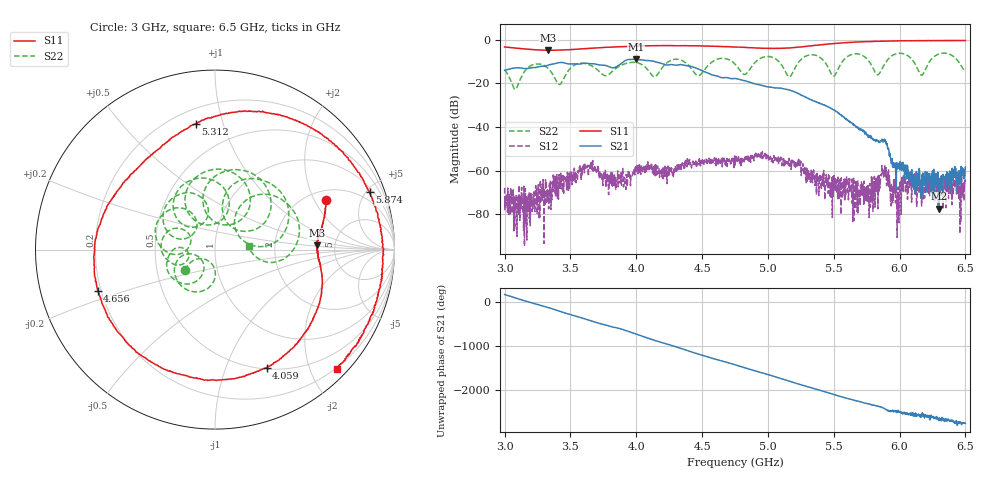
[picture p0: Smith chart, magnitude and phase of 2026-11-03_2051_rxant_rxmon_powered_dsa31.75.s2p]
! HEWLETT PACKARD,8720ES,MY41003347,7.72, via bringup/vna_tests.py
! rxant_rxmon_powered_dsa31.75
! measured 2026-11-03 20:52:11, 1601 points, 3000000000-6500000000 Hz, IF bandwidth 1000 Hz, source -40.00 dBm, kit CALK35MD
! board A, DSA 31.75 dB (set before each sweep)
# HZ S RI R 50
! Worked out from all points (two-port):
!   1601 points, 3 GHz to 6.5 GHz, reference 50 ohm
!   highest |S21| = -9.01 dB at 3.998 GHz (marker M1); lowest = -77.4 dB at 6.299 GHz (marker M2)
!   |S21| within 3 dB of the highest: 3.318 GHz to 3.775 GHz (457.3 MHz wide, 12.9 % of centre); 3.862 GHz to 4.388 GHz (526.2 MHz wide, 12.8 % of centre)
!   lowest |S11| = -4.9 dB at 3.333 GHz (marker M3), VSWR 3.62, Z = 180 + j12.5 ohm
!   |S11| at or under -10 dB: nowhere
!   |S22| runs from -22.8 to -6.2 dB; largest |S21 - S12| = 0.35
!   S11 on the Smith chart (normalised r, x): 3 GHz: 2.46, +2.48; 4.059 GHz: 0.52, -1.40; 4.656 GHz: 0.19, -0.16; 5.312 GHz: 0.29, +0.81; 5.874 GHz: 1.29, +5.26; 6.5 GHz: 0.18, -2.45
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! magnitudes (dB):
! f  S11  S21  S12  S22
! 3 GHz  -3.4  -14.1  -67.9  -13.9
! 3.081 GHz  -3.9  -13.0  -77.2  -22.8
! 3.333 GHz  -4.9  -11.7  -69.5  -13.3
! 3.418 GHz  -4.8  -10.5  -68.0  -20.6
! 3.584 GHz  -4.3  -11.1  -59.1  -10.8
! 3.998 GHz  -3.0  -9.0  -59.7  -10.5
! 4.059 GHz  -2.9  -9.4  -58.0  -12.1
! 4.168 GHz  -2.8  -10.6  -60.1  -15.4
! 4.656 GHz  -3.2  -17.5  -53.8  -8.6
! 4.75 GHz  -3.4  -17.8  -57.5  -11.2
! 5.021 GHz  -4.0  -21.8  -54.9  -7.9
! 5.163 GHz  -3.9  -23.1  -55.6  -17.1
! 5.312 GHz  -3.0  -27.1  -61.3  -7.1
! 5.334 GHz  -2.8  -27.7  -60.4  -7.0
! 5.498 GHz  -1.9  -32.1  -66.7  -16.8
! 5.629 GHz  -1.3  -38.1  -67.2  -7.0
! 5.767 GHz  -0.9  -44.3  -72.8  -9.9
! 5.874 GHz  -0.7  -46.9  -61.1  -12.5
! 5.918 GHz  -0.7  -50.7  -67.4  -8.6
! 6.168 GHz  -0.5  -64.7  -76.1  -16.3
! 6.299 GHz  -0.5  -77.4  -67.0  -6.6
! 6.5 GHz  -0.4  -58.3  -65.3  -14.5
